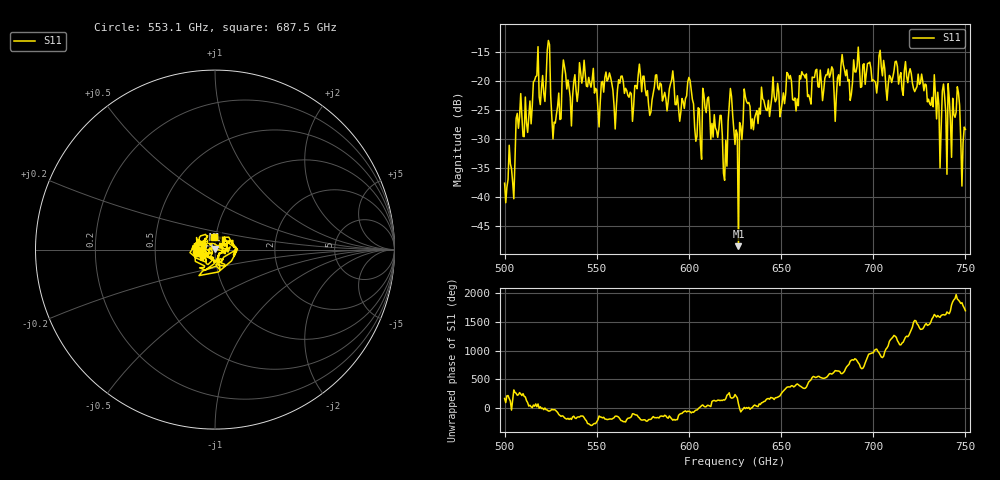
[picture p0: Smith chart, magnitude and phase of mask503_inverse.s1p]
!Created with skrf (http://scikit-rf.org).
# GHz S MA R 50.0
!freq magS11 angS11
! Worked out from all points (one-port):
!   401 points, 500 GHz to 750 GHz, reference 50 ohm
!   lowest |S11| = -48.4 dB at 626.9 GHz (marker M1), VSWR 1.01, Z = 50.1 + j0.363 ohm
!   |S11| at or under -10 dB: start of sweep to end of sweep
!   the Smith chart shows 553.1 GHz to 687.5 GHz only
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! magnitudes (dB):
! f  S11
! 500 GHz  -37.6
! 516.9 GHz  -19.2
! 520.6 GHz  -19.0
! 523.8 GHz  -13.0
! 526.9 GHz  -27.1
! 531.2 GHz  -19.1
! 541.9 GHz  -20.3
! 550.6 GHz  -24.6
! 556.2 GHz  -19.6
! 560 GHz  -28.2
! 562.5 GHz  -20.4
! 579.4 GHz  -25.3
! 590.6 GHz  -19.8
! 593.8 GHz  -22.5
! 600.6 GHz  -19.9
! 605.6 GHz  -24.7
! 608.8 GHz  -24.6
! 619.4 GHz  -37.1
! 622.5 GHz  -21.2
! 625 GHz  -30.9
! 626.9 GHz  -48.4
! 631.2 GHz  -23.5
! 635 GHz  -28.4
! 656.2 GHz  -23.2
! 687.5 GHz  -23.3
! 690.6 GHz  -18.4
! 718.8 GHz  -20.2
! 750 GHz  -28.3
